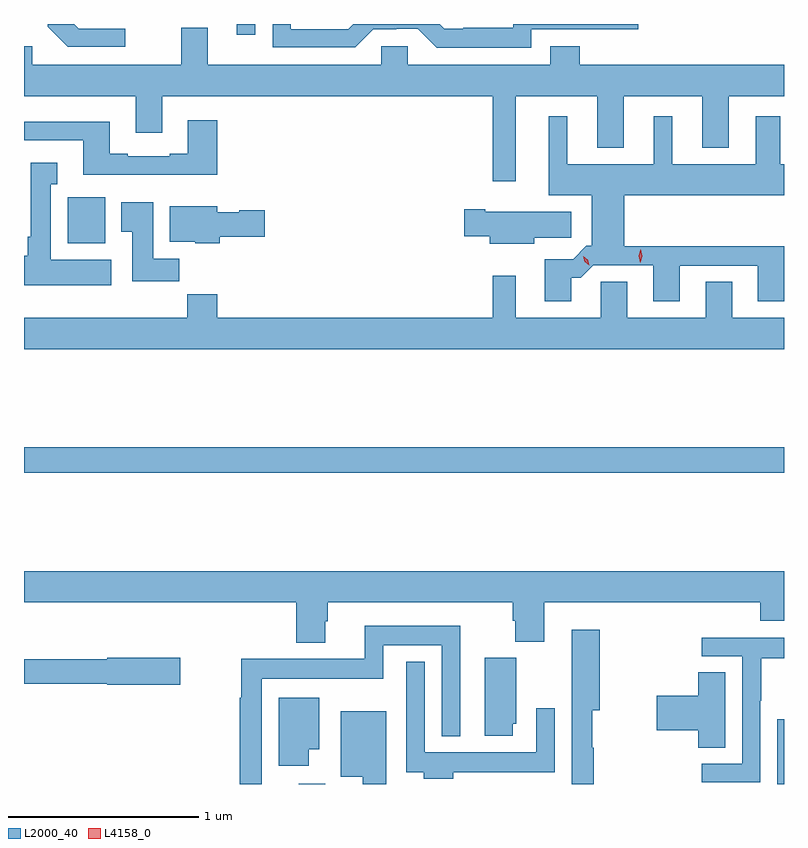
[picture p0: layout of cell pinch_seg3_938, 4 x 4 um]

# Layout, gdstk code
import gdstk
lib = gdstk.Library(unit=1e-6, precision=1e-09)
def R(c, l, rs):  # rectangles x0, y0, x1, y1
    for r in rs: c.add(gdstk.rectangle(r[:2], r[2:], *l))
def P(c, l, *ps):  # polygons
    for p in ps: c.add(gdstk.Polygon(p, *l))
L2000_40 = (2000, 40)
L4158_0 = (4158, 0)

pinch_seg3_938 = lib.new_cell('pinch_seg3_938')
R(pinch_seg3_938, L2000_40, [(545.753,710.615,545.893,710.617), (548.273,710.615,548.308,710.955), (544.308,712.252,548.308,712.388), (544.538,713.462,544.735,713.704), (545.429,714.558,545.525,714.615)])
P(pinch_seg3_938, L2000_40, [(544.84,714.591),(544.596,714.591),(544.572,714.615),(544.434,714.615),(544.434,714.601),(544.539,714.495),(544.84,714.495)],
  [(546.978,714.588),(547.54,714.588),(547.54,714.615),(546.882,714.615),(546.882,714.595),(546.619,714.595),(546.619,714.591),(546.519,714.591),(546.495,714.615),(546.042,714.615),(546.015,714.588),(545.712,714.588),(545.712,714.615),(545.616,714.615),(545.616,714.492),(546.051,714.492),(546.147,714.588),(546.266,714.588),(546.266,714.591),(546.381,714.591),(546.481,714.491),(546.978,714.491)],
  [(546.895,714.236),(547.325,714.236),(547.325,713.963),(547.465,713.963),(547.465,714.236),(547.877,714.236),(547.877,713.963),(548.017,713.963),(548.017,714.236),(548.308,714.236),(548.308,714.4),(547.232,714.4),(547.232,714.499),(547.079,714.499),(547.079,714.4),(546.327,714.4),(546.327,714.498),(546.189,714.498),(546.189,714.4),(545.275,714.4),(545.275,714.595),(545.135,714.595),(545.135,714.4),(544.351,714.4),(544.351,714.499),(544.308,714.499),(544.308,714.236),(544.895,714.236),(544.895,714.042),(545.035,714.042),(545.035,714.236),(546.774,714.236),(546.774,713.787),(546.895,713.787)],
  [(547.189,713.279),(547.238,713.279),(547.305,713.346),(547.619,713.346),(547.619,713.157),(547.759,713.157),(547.759,713.343),(548.171,713.343),(548.171,713.157),(548.308,713.157),(548.308,713.444),(547.466,713.444),(547.466,713.714),(548.308,713.714),(548.308,713.878),(548.287,713.878),(548.287,714.13),(548.159,714.13),(548.159,713.878),(547.72,713.878),(547.72,714.13),(547.622,714.13),(547.622,713.878),(547.168,713.878),(547.168,714.13),(547.07,714.13),(547.07,713.714),(547.295,713.714),(547.295,713.447),(547.268,713.447),(547.198,713.377),(547.049,713.377),(547.049,713.157),(547.189,713.157)],
  [(545.324,714.109),(545.171,714.109),(545.171,713.932),(545.075,713.932),(545.075,713.919),(544.855,713.919),(544.855,713.932),(544.759,713.932),(544.759,714.1),(544.308,714.1),(544.308,714.003),(544.619,714.003),(544.619,713.822),(545.324,713.822)],
  [(544.768,713.374),(544.45,713.374),(544.45,713.771),(544.483,713.771),(544.483,713.884),(544.343,713.884),(544.343,713.494),(544.328,713.494),(544.328,713.394),(544.308,713.394),(544.308,713.24),(544.768,713.24)],
  [(545.126,713.38),(544.987,713.38),(544.987,713.677),(544.82,713.677),(544.82,713.521),(544.877,713.521),(544.877,713.262),(545.126,713.262)],
  [(545.339,713.494),(545.575,713.494),(545.575,713.636),(545.442,713.636),(545.442,713.623),(545.326,713.623),(545.326,713.656),(545.075,713.656),(545.075,713.468),(545.208,713.468),(545.208,713.462),(545.339,713.462)],
  [(546.994,713.491),(547.189,713.491),(547.189,713.626),(546.736,713.626),(546.736,713.639),(546.624,713.639),(546.624,713.497),(546.758,713.497),(546.758,713.459),(546.994,713.459)],
  [(548.308,713.068),(548.035,713.068),(548.035,713.258),(547.895,713.258),(547.895,713.068),(547.483,713.068),(547.483,713.258),(547.344,713.258),(547.344,713.068),(546.895,713.068),(546.895,713.29),(546.774,713.29),(546.774,713.068),(545.324,713.068),(545.324,713.192),(545.167,713.192),(545.167,713.068),(544.308,713.068),(544.308,712.904),(548.308,712.904)],
  [(545.893,711.471),(545.906,711.471),(545.906,711.572),(546.881,711.572),(546.881,711.473),(546.893,711.473),(546.893,711.364),(547.046,711.364),(547.046,711.572),(548.183,711.572),(548.183,711.473),(548.308,711.473),(548.308,711.736),(544.308,711.736),(544.308,711.572),(545.741,711.572),(545.741,711.359),(545.893,711.359)],
  [(545.559,711.17),(546.198,711.17),(546.198,711.344),(546.507,711.344),(546.507,710.867),(546.604,710.867),(546.604,711.448),(546.101,711.448),(546.101,711.274),(545.451,711.274),(545.451,711.07),(545.443,711.07),(545.443,710.615),(545.559,710.615)],
  [(547.307,710.805),(547.3,710.805),(547.3,711.002),(547.337,711.002),(547.337,711.427),(547.19,711.427),(547.19,711.106),(547.191,711.106),(547.191,710.615),(547.307,710.615)],
  [(548.184,711.052),(548.187,711.052),(548.187,711.276),(548.308,711.276),(548.308,711.384),(547.875,711.384),(547.875,711.288),(548.088,711.288),(548.088,710.721),(547.875,710.721),(547.875,710.623),(548.184,710.623)],
  [(546.88,710.931),(546.898,710.931),(546.898,711.279),(546.734,711.279),(546.734,710.868),(546.88,710.868)],
  [(545.131,711.279),(544.746,711.279),(544.746,711.271),(544.308,711.271),(544.308,711.142),(544.746,711.142),(544.746,711.137),(545.131,711.137)],
  [(546.566,710.676),(546.797,710.676),(546.797,710.678),(547.101,710.678),(547.101,711.013),(547.005,711.013),(547.005,710.782),(546.417,710.782),(546.417,711.259),(546.321,711.259),(546.321,710.676),(546.413,710.676),(546.413,710.642),(546.566,710.642)],
  [(547.999,711.203),(547.856,711.203),(547.856,711.08),(547.638,711.08),(547.638,710.897),(547.856,710.897),(547.856,710.806),(547.999,710.806)],
  [(545.806,710.798),(545.863,710.798),(545.863,711.07),(545.648,711.07),(545.648,710.712),(545.806,710.712)],
  [(546.214,710.998),(545.975,710.998),(545.975,710.654),(546.092,710.654),(546.092,710.615),(546.214,710.615)])
P(pinch_seg3_938, L4158_0, [(547.551,713.358),(547.551,713.358),(547.543,713.394),(547.555,713.429),(547.555,713.429),(547.555,713.429),(547.563,713.393),(547.551,713.358)],
  [(547.283,713.344),(547.283,713.344),(547.259,713.363),(547.252,713.393),(547.252,713.393),(547.252,713.393),(547.276,713.374),(547.283,713.344)])

lib.write_gds('pinch_seg3_938.gds')
